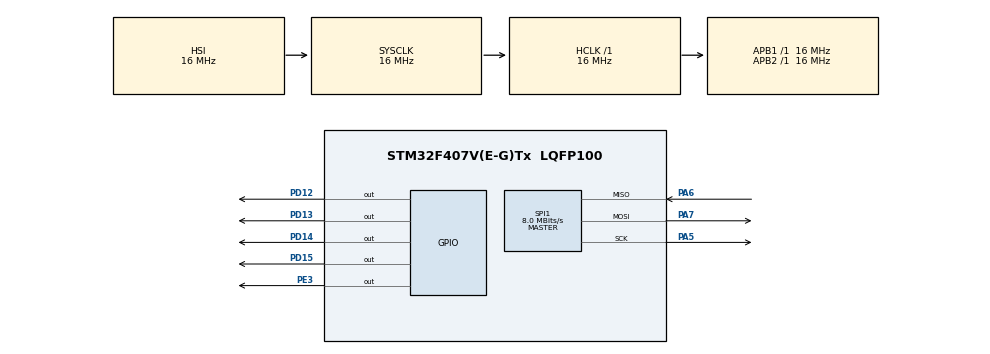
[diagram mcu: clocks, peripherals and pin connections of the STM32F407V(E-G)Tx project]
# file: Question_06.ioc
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Mcu.Family=STM32F4
Mcu.Name=STM32F407V(E-G)Tx
Mcu.Package=LQFP100
NVIC.PriorityGroup=NVIC_PRIORITYGROUP_4
PA5.Mode=Full_Duplex_Master
PA5.Signal=SPI1_SCK
PA6.Mode=Full_Duplex_Master
PA6.Signal=SPI1_MISO
PA7.Mode=Full_Duplex_Master
PA7.Signal=SPI1_MOSI
PD12.Signal=GPIO_Output
PD13.GPIO_PuPd=GPIO_NOPULL
PD13.Signal=GPIO_Output
PD14.Signal=GPIO_Output
PD15.Signal=GPIO_Output
PE3.GPIO_PuPd=GPIO_NOPULL
PE3.Signal=GPIO_Output
ProjectManager.HeapSize=0x200
ProjectManager.StackSize=0x400
ProjectManager.TargetToolchain=STM32CubeIDE
RCC.AHBFreq_Value=16000000
RCC.APB1Freq_Value=16000000
RCC.APB2Freq_Value=16000000
RCC.CortexFreq_Value=16000000
RCC.HSE_VALUE=25000000
RCC.HSI_VALUE=16000000
RCC.LSE_VALUE=32768
RCC.SYSCLKFreq_VALUE=16000000
RCC.VCOOutputFreq_Value=192000000
SPI1.CLKPolarity=SPI_POLARITY_LOW
SPI1.CalculateBaudRate=8.0 MBits/s
SPI1.Direction=SPI_DIRECTION_2LINES
SPI1.Mode=SPI_MODE_MASTER
SPI1.VirtualType=VM_MASTER
board=custom

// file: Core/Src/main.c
/* USER CODE BEGIN Header */
/**
  ******************************************************************************
  * @file           : main.c
  * @brief          : Main program body
  ******************************************************************************
  * @attention
  *
  * Copyright (c) 2026 STMicroelectronics.
  * All rights reserved.
  *
  * This software is licensed under terms that can be found in the LICENSE file
  * in the root directory of this software component.
  * If no LICENSE file comes with this software, it is provided AS-IS.
  *
  ******************************************************************************
  */
/* USER CODE END Header */
#include "main.h"

/* USER CODE BEGIN Includes */
#include <stdlib.h>

/* USER CODE END Includes */

SPI_HandleTypeDef hspi1;

/* USER CODE BEGIN PV */

uint8_t txBuf[2];
uint8_t RxBuff[6];

uint8_t whoAmI;

uint8_t ReadFlag = 0x80;

uint16_t threshold = 1500;

int16_t accel_x;
int16_t accel_y;
int16_t accel_z;

uint32_t tilt_timer = 0;
uint32_t safe_timer = 0;
uint8_t alarm_active = 0;
/* USER CODE END PV */

void SystemClock_Config(void);
static void MX_GPIO_Init(void);
static void MX_SPI1_Init(void);

int main(void)
{

  /* MCU Configuration--------------------------------------------------------*/

  /* Reset of all peripherals, Initializes the Flash interface and the Systick. */
  HAL_Init();

  /* Configure the system clock */
  SystemClock_Config();

  /* Initialize all configured peripherals */
  MX_GPIO_Init();
  MX_SPI1_Init();
  /* USER CODE BEGIN 2 */

  HAL_GPIO_WritePin(GPIOE, GPIO_PIN_3, GPIO_PIN_RESET);

  txBuf[0] = 0x0F | ReadFlag;

  HAL_SPI_Transmit(&hspi1,txBuf, 1, 50);
  HAL_SPI_Receive(&hspi1, &whoAmI, 1, 50);

  HAL_GPIO_WritePin(GPIOE, GPIO_PIN_3, GPIO_PIN_SET);

  if(whoAmI != 0x3F && whoAmI != 0x3B)
  {
      HAL_GPIO_WritePin(GPIOD, GPIO_PIN_14, GPIO_PIN_SET);
      while(1);
  }

  HAL_GPIO_WritePin(GPIOE, GPIO_PIN_3, GPIO_PIN_RESET);

  txBuf[0] = 0x20;
  txBuf[1] = 0x47;

  HAL_SPI_Transmit(&hspi1, txBuf, 2, 50);

  HAL_GPIO_WritePin(GPIOE, GPIO_PIN_3, GPIO_PIN_SET);

  HAL_GPIO_WritePin(GPIOE, GPIO_PIN_3, GPIO_PIN_RESET);

  txBuf[0] = 0x24;
  txBuf[1] = 0xC0;

  HAL_SPI_Transmit(&hspi1, txBuf, 2, 50);

  HAL_GPIO_WritePin(GPIOE, GPIO_PIN_3, GPIO_PIN_SET);

  HAL_GPIO_WritePin(GPIOE, GPIO_PIN_3, GPIO_PIN_RESET);

  txBuf[0] = 0x25;
  txBuf[1] = 0x10;

  HAL_SPI_Transmit(&hspi1, txBuf, 2, 50);

  HAL_GPIO_WritePin(GPIOE, GPIO_PIN_3, GPIO_PIN_SET);

  /* USER CODE END 2 */

  /* Infinite loop */
  while (1)
  {

    /* USER CODE BEGIN 3 */
	  HAL_GPIO_WritePin(GPIOE, GPIO_PIN_3, GPIO_PIN_RESET);

	  txBuf[0] = 0x27 | ReadFlag;

	  HAL_SPI_Transmit(&hspi1, txBuf, 1, 50);
	  HAL_SPI_Receive(&hspi1, RxBuff, 1, 50);
	  HAL_GPIO_WritePin(GPIOE, GPIO_PIN_3, GPIO_PIN_SET);

	  if((RxBuff[0] & 0x07) == 0x07)
	  {
		  HAL_GPIO_WritePin(GPIOE, GPIO_PIN_3, GPIO_PIN_RESET);

		  txBuf[0] = 0x28 | ReadFlag;

		  HAL_SPI_Transmit(&hspi1, txBuf, 1, 50);

		  HAL_SPI_Receive(&hspi1, RxBuff, 6, 50);

		  HAL_GPIO_WritePin(GPIOE, GPIO_PIN_3, GPIO_PIN_SET);

		  accel_x = (int16_t)(((uint16_t)RxBuff[1] << 8) | RxBuff[0]);
		  accel_y = (int16_t)(((uint16_t)RxBuff[3] << 8) | RxBuff[2]);
		  accel_z = (int16_t)(((uint16_t)RxBuff[5] << 8) | RxBuff[4]);

		  uint8_t is_tilted = (abs(accel_x) > threshold || abs(accel_y) > threshold);

		  if (is_tilted) {
			safe_timer = 0;
			if (!alarm_active && (tilt_timer += 100) >= 3000) alarm_active = 1;
		  } else {
			tilt_timer = 0;
			if (alarm_active && (safe_timer += 100) >= 2000) alarm_active = 0;
		  }

		  if (alarm_active) {
			HAL_GPIO_TogglePin(GPIOD, GPIO_PIN_12|GPIO_PIN_13|GPIO_PIN_14|GPIO_PIN_15);
		  } else {
			HAL_GPIO_WritePin(GPIOD, GPIO_PIN_12|GPIO_PIN_13|GPIO_PIN_14|GPIO_PIN_15, GPIO_PIN_RESET);
			if (is_tilted) {
				if (abs(accel_x) > abs(accel_y)) {
					HAL_GPIO_WritePin(GPIOD, accel_x > 0 ? GPIO_PIN_14 : GPIO_PIN_12, GPIO_PIN_SET);
				} else {
					HAL_GPIO_WritePin(GPIOD, accel_y > 0 ? GPIO_PIN_13 : GPIO_PIN_15, GPIO_PIN_SET);
				}
			}
		  }
	  }
	  HAL_Delay(100);
  }
  /* USER CODE END 3 */
}

void SystemClock_Config(void)
{
  RCC_OscInitTypeDef RCC_OscInitStruct = {0};
  RCC_ClkInitTypeDef RCC_ClkInitStruct = {0};

  /** Configure the main internal regulator output voltage
  */
  __HAL_RCC_PWR_CLK_ENABLE();
  __HAL_PWR_VOLTAGESCALING_CONFIG(PWR_REGULATOR_VOLTAGE_SCALE1);

  /** Initializes the RCC Oscillators according to the specified parameters
  * in the RCC_OscInitTypeDef structure.
  */
  RCC_OscInitStruct.OscillatorType = RCC_OSCILLATORTYPE_HSI;
  RCC_OscInitStruct.HSIState = RCC_HSI_ON;
  RCC_OscInitStruct.HSICalibrationValue = RCC_HSICALIBRATION_DEFAULT;
  RCC_OscInitStruct.PLL.PLLState = RCC_PLL_NONE;
  if (HAL_RCC_OscConfig(&RCC_OscInitStruct) != HAL_OK)
  {
    Error_Handler();
  }

  /** Initializes the CPU, AHB and APB buses clocks
  */
  RCC_ClkInitStruct.ClockType = RCC_CLOCKTYPE_HCLK|RCC_CLOCKTYPE_SYSCLK
                              |RCC_CLOCKTYPE_PCLK1|RCC_CLOCKTYPE_PCLK2;
  RCC_ClkInitStruct.SYSCLKSource = RCC_SYSCLKSOURCE_HSI;
  RCC_ClkInitStruct.AHBCLKDivider = RCC_SYSCLK_DIV1;
  RCC_ClkInitStruct.APB1CLKDivider = RCC_HCLK_DIV1;
  RCC_ClkInitStruct.APB2CLKDivider = RCC_HCLK_DIV1;

  if (HAL_RCC_ClockConfig(&RCC_ClkInitStruct, FLASH_LATENCY_0) != HAL_OK)
  {
    Error_Handler();
  }
}

static void MX_SPI1_Init(void)
{

  /* SPI1 parameter configuration*/
  hspi1.Instance = SPI1;
  hspi1.Init.Mode = SPI_MODE_MASTER;
  hspi1.Init.Direction = SPI_DIRECTION_2LINES;
  hspi1.Init.DataSize = SPI_DATASIZE_8BIT;
  hspi1.Init.CLKPolarity = SPI_POLARITY_LOW;
  hspi1.Init.CLKPhase = SPI_PHASE_1EDGE;
  hspi1.Init.NSS = SPI_NSS_SOFT;
  hspi1.Init.BaudRatePrescaler = SPI_BAUDRATEPRESCALER_2;
  hspi1.Init.FirstBit = SPI_FIRSTBIT_MSB;
  hspi1.Init.TIMode = SPI_TIMODE_DISABLE;
  hspi1.Init.CRCCalculation = SPI_CRCCALCULATION_DISABLE;
  hspi1.Init.CRCPolynomial = 10;
  if (HAL_SPI_Init(&hspi1) != HAL_OK)
  {
    Error_Handler();
  }

}

static void MX_GPIO_Init(void)
{
  GPIO_InitTypeDef GPIO_InitStruct = {0};

  /* GPIO Ports Clock Enable */
  __HAL_RCC_GPIOE_CLK_ENABLE();
  __HAL_RCC_GPIOA_CLK_ENABLE();
  __HAL_RCC_GPIOD_CLK_ENABLE();

  /*Configure GPIO pin Output Level */
  HAL_GPIO_WritePin(GPIOE, GPIO_PIN_3, GPIO_PIN_RESET);

  /*Configure GPIO pin Output Level */
  HAL_GPIO_WritePin(GPIOD, GPIO_PIN_12|GPIO_PIN_13|GPIO_PIN_14|GPIO_PIN_15, GPIO_PIN_RESET);

  /*Configure GPIO pin : PE3 */
  GPIO_InitStruct.Pin = GPIO_PIN_3;
  GPIO_InitStruct.Mode = GPIO_MODE_OUTPUT_PP;
  GPIO_InitStruct.Pull = GPIO_NOPULL;
  GPIO_InitStruct.Speed = GPIO_SPEED_FREQ_LOW;
  HAL_GPIO_Init(GPIOE, &GPIO_InitStruct);

  /*Configure GPIO pins : PD12 PD13 PD14 PD15 */
  GPIO_InitStruct.Pin = GPIO_PIN_12|GPIO_PIN_13|GPIO_PIN_14|GPIO_PIN_15;
  GPIO_InitStruct.Mode = GPIO_MODE_OUTPUT_PP;
  GPIO_InitStruct.Pull = GPIO_NOPULL;
  GPIO_InitStruct.Speed = GPIO_SPEED_FREQ_LOW;
  HAL_GPIO_Init(GPIOD, &GPIO_InitStruct);

}

void Error_Handler(void)
{
  __disable_irq();
  while (1)
  {
  }
}
